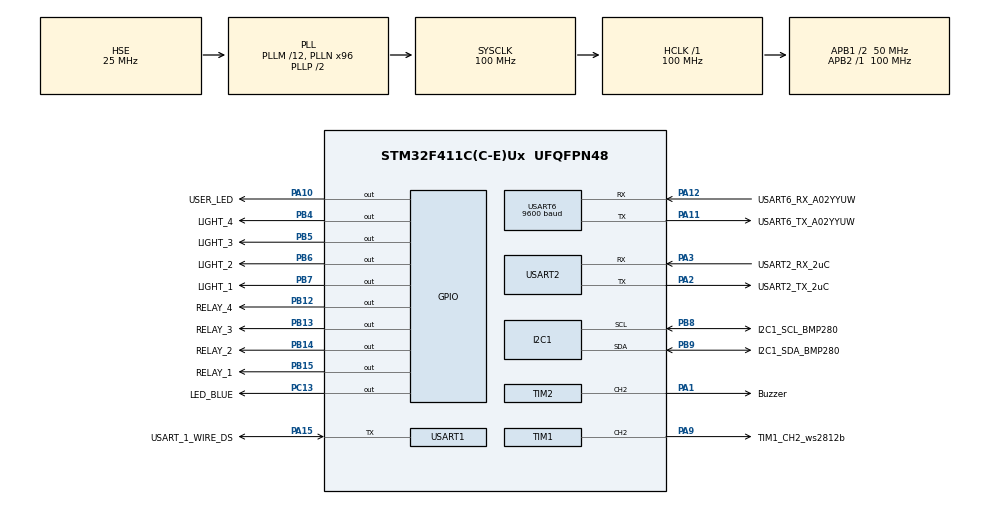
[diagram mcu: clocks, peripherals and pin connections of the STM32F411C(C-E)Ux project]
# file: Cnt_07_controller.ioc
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Dma.Request0=USART2_RX
Dma.Request1=USART2_TX
Dma.Request2=TIM1_CH2
Dma.Request3=USART6_RX
Dma.Request4=USART6_TX
Dma.TIM1_CH2.2.Direction=DMA_MEMORY_TO_PERIPH
Dma.TIM1_CH2.2.FIFOMode=DMA_FIFOMODE_DISABLE
Dma.TIM1_CH2.2.Instance=DMA2_Stream2
Dma.TIM1_CH2.2.MemDataAlignment=DMA_MDATAALIGN_HALFWORD
Dma.TIM1_CH2.2.MemInc=DMA_MINC_ENABLE
Dma.TIM1_CH2.2.Mode=DMA_NORMAL
Dma.TIM1_CH2.2.PeriphDataAlignment=DMA_PDATAALIGN_HALFWORD
Dma.TIM1_CH2.2.PeriphInc=DMA_PINC_DISABLE
Dma.TIM1_CH2.2.Priority=DMA_PRIORITY_LOW
Dma.USART2_RX.0.Direction=DMA_PERIPH_TO_MEMORY
Dma.USART2_RX.0.FIFOMode=DMA_FIFOMODE_DISABLE
Dma.USART2_RX.0.Instance=DMA1_Stream5
Dma.USART2_RX.0.MemDataAlignment=DMA_MDATAALIGN_BYTE
Dma.USART2_RX.0.MemInc=DMA_MINC_ENABLE
Dma.USART2_RX.0.Mode=DMA_NORMAL
Dma.USART2_RX.0.PeriphDataAlignment=DMA_PDATAALIGN_BYTE
Dma.USART2_RX.0.PeriphInc=DMA_PINC_DISABLE
Dma.USART2_RX.0.Priority=DMA_PRIORITY_LOW
Dma.USART2_TX.1.Direction=DMA_MEMORY_TO_PERIPH
Dma.USART2_TX.1.FIFOMode=DMA_FIFOMODE_DISABLE
Dma.USART2_TX.1.Instance=DMA1_Stream6
Dma.USART2_TX.1.MemDataAlignment=DMA_MDATAALIGN_BYTE
Dma.USART2_TX.1.MemInc=DMA_MINC_ENABLE
Dma.USART2_TX.1.Mode=DMA_NORMAL
Dma.USART2_TX.1.PeriphDataAlignment=DMA_PDATAALIGN_BYTE
Dma.USART2_TX.1.PeriphInc=DMA_PINC_DISABLE
Dma.USART2_TX.1.Priority=DMA_PRIORITY_LOW
Dma.USART6_RX.3.Direction=DMA_PERIPH_TO_MEMORY
Dma.USART6_RX.3.FIFOMode=DMA_FIFOMODE_DISABLE
Dma.USART6_RX.3.Instance=DMA2_Stream1
Dma.USART6_RX.3.MemDataAlignment=DMA_MDATAALIGN_BYTE
Dma.USART6_RX.3.MemInc=DMA_MINC_ENABLE
Dma.USART6_RX.3.Mode=DMA_NORMAL
Dma.USART6_RX.3.PeriphDataAlignment=DMA_PDATAALIGN_BYTE
Dma.USART6_RX.3.PeriphInc=DMA_PINC_DISABLE
Dma.USART6_RX.3.Priority=DMA_PRIORITY_LOW
Dma.USART6_TX.4.Direction=DMA_MEMORY_TO_PERIPH
Dma.USART6_TX.4.FIFOMode=DMA_FIFOMODE_DISABLE
Dma.USART6_TX.4.Instance=DMA2_Stream6
Dma.USART6_TX.4.MemDataAlignment=DMA_MDATAALIGN_BYTE
Dma.USART6_TX.4.MemInc=DMA_MINC_ENABLE
Dma.USART6_TX.4.Mode=DMA_NORMAL
Dma.USART6_TX.4.PeriphDataAlignment=DMA_PDATAALIGN_BYTE
Dma.USART6_TX.4.PeriphInc=DMA_PINC_DISABLE
Dma.USART6_TX.4.Priority=DMA_PRIORITY_LOW
Mcu.Family=STM32F4
Mcu.Name=STM32F411C(C-E)Ux
Mcu.Package=UFQFPN48
NVIC.DMA1_Stream5_IRQn=true\:0\:0\:false\:false\:true\:false\:true
NVIC.DMA1_Stream6_IRQn=true\:0\:0\:false\:false\:true\:false\:true
NVIC.DMA2_Stream1_IRQn=true\:0\:0\:false\:false\:true\:false\:true
NVIC.DMA2_Stream2_IRQn=true\:0\:0\:false\:false\:true\:false\:true
NVIC.DMA2_Stream6_IRQn=true\:0\:0\:false\:false\:true\:false\:true
NVIC.PriorityGroup=NVIC_PRIORITYGROUP_4
NVIC.TIM1_UP_TIM10_IRQn=true\:0\:0\:false\:true\:true\:1\:true\:true
NVIC.USART2_IRQn=true\:0\:0\:false\:false\:true\:true\:true
PA1.GPIO_Label=Buzzer
PA1.Signal=S_TIM2_CH2
PA10.GPIO_Label=USER_LED
PA10.Signal=GPIO_Output
PA11.GPIO_Label=USART6_TX_A02YYUW
PA11.Mode=Asynchronous
PA11.Signal=USART6_TX
PA12.GPIO_Label=USART6_RX_A02YYUW
PA12.Mode=Asynchronous
PA12.Signal=USART6_RX
PA15.GPIO_Label=USART_1_WIRE_DS
PA15.Mode=Half_duplex(single_wire_mode)
PA15.Signal=USART1_TX
PA2.GPIO_Label=USART2_TX_2uC
PA2.Mode=Asynchronous
PA2.Signal=USART2_TX
PA3.GPIO_Label=USART2_RX_2uC
PA3.Mode=Asynchronous
PA3.Signal=USART2_RX
PA9.GPIO_Label=TIM1_CH2_ws2812b
PA9.Signal=S_TIM1_CH2
PB12.GPIO_Label=RELAY_4
PB12.PinState=GPIO_PIN_SET
PB12.Signal=GPIO_Output
PB13.GPIO_Label=RELAY_3
PB13.PinState=GPIO_PIN_SET
PB13.Signal=GPIO_Output
PB14.GPIO_Label=RELAY_2
PB14.PinState=GPIO_PIN_SET
PB14.Signal=GPIO_Output
PB15.GPIO_Label=RELAY_1
PB15.PinState=GPIO_PIN_SET
PB15.Signal=GPIO_Output
PB4.GPIO_Label=LIGHT_4
PB4.PinState=GPIO_PIN_SET
PB4.Signal=GPIO_Output
PB5.GPIO_Label=LIGHT_3
PB5.PinState=GPIO_PIN_SET
PB5.Signal=GPIO_Output
PB6.GPIO_Label=LIGHT_2
PB6.PinState=GPIO_PIN_SET
PB6.Signal=GPIO_Output
PB7.GPIO_Label=LIGHT_1
PB7.PinState=GPIO_PIN_SET
PB7.Signal=GPIO_Output
PB8.GPIO_Label=I2C1_SCL_BMP280
PB8.Mode=I2C
PB8.Signal=I2C1_SCL
PB9.GPIO_Label=I2C1_SDA_BMP280
PB9.Mode=I2C
PB9.Signal=I2C1_SDA
PC13-ANTI_TAMP.GPIO_Label=LED_BLUE
PC13-ANTI_TAMP.Signal=GPIO_Output
PC14-OSC32_IN.Mode=LSE-External-Oscillator
PC14-OSC32_IN.Signal=RCC_OSC32_IN
PC15-OSC32_OUT.Mode=LSE-External-Oscillator
PC15-OSC32_OUT.Signal=RCC_OSC32_OUT
PH0\ -\ OSC_IN.Mode=HSE-External-Oscillator
PH0\ -\ OSC_IN.Signal=RCC_OSC_IN
PH1\ -\ OSC_OUT.Mode=HSE-External-Oscillator
PH1\ -\ OSC_OUT.Signal=RCC_OSC_OUT
ProjectManager.HeapSize=0x200
ProjectManager.StackSize=0x400
ProjectManager.TargetToolchain=STM32CubeIDE
RCC.48MHZClocksFreq_Value=50000000
RCC.AHBFreq_Value=100000000
RCC.APB1CLKDivider=RCC_HCLK_DIV2
RCC.APB1Freq_Value=50000000
RCC.APB1TimFreq_Value=100000000
RCC.APB2Freq_Value=100000000
RCC.APB2TimFreq_Value=100000000
RCC.CortexFreq_Value=100000000
RCC.HCLKFreq_Value=100000000
RCC.HSE_VALUE=25000000
RCC.HSI_VALUE=16000000
RCC.PLLM=12
RCC.PLLN=96
RCC.PLLSourceVirtual=RCC_PLLSOURCE_HSE
RCC.SYSCLKFreq_VALUE=100000000
RCC.SYSCLKSource=RCC_SYSCLKSOURCE_PLLCLK
RCC.VCOOutputFreq_Value=200000000
SH.S_TIM1_CH2.0=TIM1_CH2,PWM Generation2 CH2
SH.S_TIM2_CH2.0=TIM2_CH2,PWM Generation2 CH2
TIM1.Channel-PWM\ Generation2\ CH2=TIM_CHANNEL_2
TIM1.Period=124
TIM10.Period=7499
TIM10.Prescaler=9999
TIM2.Channel-PWM\ Generation2\ CH2=TIM_CHANNEL_2
USART1.BaudRate=9600
USART1.VirtualMode=VM_ASYNC
USART2.VirtualMode=VM_ASYNC
USART6.BaudRate=9600
USART6.VirtualMode=VM_ASYNC
VP_TIM10_VS_ClockSourceINT.Mode=Enable_Timer
VP_TIM1_VS_ClockSourceINT.Mode=Internal
VP_TIM2_VS_ClockSourceINT.Mode=Internal
board=custom

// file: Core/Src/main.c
/* USER CODE BEGIN Header */
/**
  ******************************************************************************
  ******************************************************************************
  * @file           : main.c
  * @project		: free_michelle
  * @author			: grados73 - https://github.com/grados73
  * @purpose		: main file of GPIO controller
  * @TODO			: delete global variables , mappery, consty in functions arguments, typedefy, makra ifdef
  * 				: watchdog with define to disable watchdog during debug
  ******************************************************************************
  ******************************************************************************
  */
/* USER CODE END Header */
#include "main.h"
#include "dma.h"
#include "i2c.h"
#include "tim.h"
#include "usart.h"
#include "gpio.h"

/* USER CODE BEGIN Includes */
#include "functions.h"
#include "uartdma.h"
#include "parser.h"
#include "ds18b20.h"
#include "ws2812b.h"

#include "string.h"
#include "stdlib.h"
#include "stdio.h"
/* USER CODE END Includes */

/* USER CODE BEGIN PV */
extern struct Measurements BMPResults;
float CTemp, CPressure;

UARTDMA_HandleTypeDef huartdma2;
UARTDMA_HandleTypeDef huartdma6;

uint8_t BufferReceive[64];
uint8_t RefreshMeasurementDataCounter = 0;

// PHYSICAL ADRESS OF DS18B20 SENSORS
const uint8_t ds1[] = { 0x28, 0x5b, 0x9d, 0x96, 0x3a, 0x19, 0x1, 0xcf }; // zew on wire
const uint8_t ds2[] = { 0x28, 0xff, 0x8e, 0xfc, 0x71, 0x15, 0x3, 0xf7 }; // wew

/* USER CODE END PV */

void SystemClock_Config(void);
static void MX_NVIC_Init(void);
/* USER CODE BEGIN PFP */
void HAL_TIM_PeriodElapsedCallback(TIM_HandleTypeDef *htim);
/* USER CODE END PFP */

int main(void)
{

  /* MCU Configuration--------------------------------------------------------*/

  /* Reset of all peripherals, Initializes the Flash interface and the Systick. */
  HAL_Init();

  /* Configure the system clock */
  SystemClock_Config();

  /* Initialize all configured peripherals */
  MX_GPIO_Init();
  MX_I2C1_Init();
  MX_DMA_Init();
  MX_USART2_UART_Init();
  MX_TIM10_Init();
  MX_USART1_UART_Init();
  MX_TIM1_Init();
  MX_USART6_UART_Init();
  MX_TIM2_Init();

  /* Initialize interrupts */
  MX_NVIC_Init();
  /* USER CODE BEGIN 2 */
   bmp280_init(); // Pressure and Temperature Bosh sensor Initialization

   HAL_TIM_Base_Start_IT(&htim10); // Start TIMER 10 to

   // Initialization of UART in DMA mode
   UARTDMA_Init(&huartdma2, &huart2); // init UART to connect with second uC
   UARTDMA_Init(&huartdma6, &huart6); // init UART to connect with distance sensor to measure water LVL

   // Initialization of DS18B20 Temperature sensor
   //if (ds18b20_init() != HAL_OK)  Error_Handler();
   ds18b20_init(); // TODO! it is version for developing. In future handle errors ^^

   // Initialization of WS2812B led by default mode
   ws2812b_init();
   ws2812b_LightDaily(WS2812B_BRIGHTNESS_MIN_PWR);

  /* USER CODE END 2 */

  /* Infinite loop */
  /* USER CODE BEGIN WHILE */
  while (1)
  {
	  //
	  // RECEIVE
	  //
	  if(UARTDMA_IsDataReceivedReady(&huartdma2))
	  {
		  UART_ParseLine(&huartdma2); // Parsing function
	  }

	  //
	  // TRANSMIT
	  //
	  UARTDMA_TransmitEvent(&huartdma2);

    /* USER CODE END WHILE */

  }
}

void SystemClock_Config(void)
{
  RCC_OscInitTypeDef RCC_OscInitStruct = {0};
  RCC_ClkInitTypeDef RCC_ClkInitStruct = {0};

  /** Configure the main internal regulator output voltage
  */
  __HAL_RCC_PWR_CLK_ENABLE();
  __HAL_PWR_VOLTAGESCALING_CONFIG(PWR_REGULATOR_VOLTAGE_SCALE1);
  /** Initializes the RCC Oscillators according to the specified parameters
  * in the RCC_OscInitTypeDef structure.
  */
  RCC_OscInitStruct.OscillatorType = RCC_OSCILLATORTYPE_HSE;
  RCC_OscInitStruct.HSEState = RCC_HSE_ON;
  RCC_OscInitStruct.PLL.PLLState = RCC_PLL_ON;
  RCC_OscInitStruct.PLL.PLLSource = RCC_PLLSOURCE_HSE;
  RCC_OscInitStruct.PLL.PLLM = 12;
  RCC_OscInitStruct.PLL.PLLN = 96;
  RCC_OscInitStruct.PLL.PLLP = RCC_PLLP_DIV2;
  RCC_OscInitStruct.PLL.PLLQ = 4;
  if (HAL_RCC_OscConfig(&RCC_OscInitStruct) != HAL_OK)
  {
    Error_Handler();
  }
  /** Initializes the CPU, AHB and APB buses clocks
  */
  RCC_ClkInitStruct.ClockType = RCC_CLOCKTYPE_HCLK|RCC_CLOCKTYPE_SYSCLK
                              |RCC_CLOCKTYPE_PCLK1|RCC_CLOCKTYPE_PCLK2;
  RCC_ClkInitStruct.SYSCLKSource = RCC_SYSCLKSOURCE_PLLCLK;
  RCC_ClkInitStruct.AHBCLKDivider = RCC_SYSCLK_DIV1;
  RCC_ClkInitStruct.APB1CLKDivider = RCC_HCLK_DIV2;
  RCC_ClkInitStruct.APB2CLKDivider = RCC_HCLK_DIV1;

  if (HAL_RCC_ClockConfig(&RCC_ClkInitStruct, FLASH_LATENCY_3) != HAL_OK)
  {
    Error_Handler();
  }
}

/**
  * @brief NVIC Configuration.
  * @retval None
  */
static void MX_NVIC_Init(void)
{
  /* TIM1_UP_TIM10_IRQn interrupt configuration */
  HAL_NVIC_SetPriority(TIM1_UP_TIM10_IRQn, 0, 0);
  HAL_NVIC_EnableIRQ(TIM1_UP_TIM10_IRQn);
}

/* USER CODE BEGIN 4 */
void HAL_TIM_PeriodElapsedCallback(TIM_HandleTypeDef *htim)
{
	if(htim->Instance == TIM10)
	{

		BMPResults = temp_pressure_measurement(); // Read Temperature and Pressure from sensor
		CTemp = BMPResults.Temp;
		CPressure = BMPResults.Pressure;
		HAL_GPIO_TogglePin(USER_LED_GPIO_Port, USER_LED_Pin); // Connect! It must stay.

		if (RefreshMeasurementDataCounter == (DATA_RELEASE_TIME - 1)) // one second before sending current parameters
		{
			ds18b20_start_measure(ds1); // Start measure of temperature in outside sensor
			UART_DistanceSensorParseLine(&huartdma6); // Distance Parsing function
		}
		if(RefreshMeasurementDataCounter >= DATA_RELEASE_TIME)
		{
			PodajTemperatureRoutine(1);
			PodajCisnienieRoutine(1);
			PodajTemperatureRoutine(2);
			RefreshMeasurementDataCounter = 0;
		}
		RefreshMeasurementDataCounter++;
	}
}

/* USER CODE END 4 */

void Error_Handler(void)
{
  __disable_irq();
  while (1)
  {
  }
}
